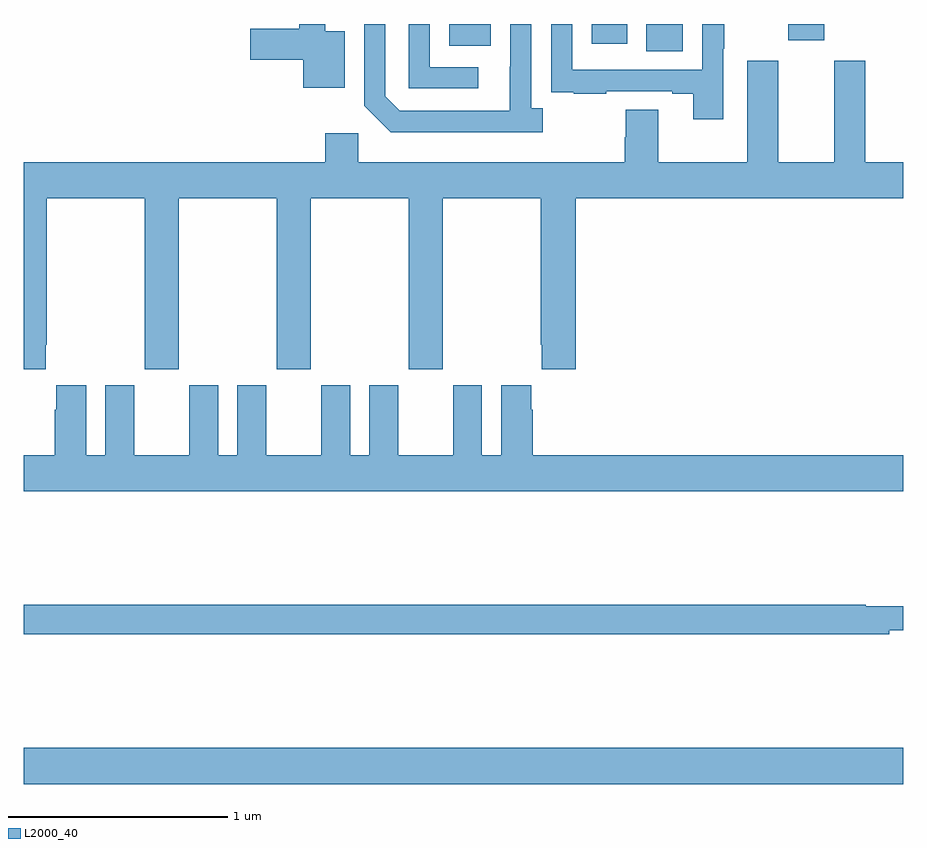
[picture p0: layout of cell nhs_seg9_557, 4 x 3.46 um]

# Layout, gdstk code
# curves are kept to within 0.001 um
import gdstk
lib = gdstk.Library(unit=1e-6, precision=1e-09)
def R(c, l, rs):  # rectangles x0, y0, x1, y1
    for r in rs: c.add(gdstk.rectangle(r[:2], r[2:], *l))
def P(c, l, *ps):  # polygons
    for p in ps: c.add(gdstk.Polygon(p, *l))
L2000_40 = (2000, 40)

nhs_seg9_557 = lib.new_cell('nhs_seg9_557')
R(nhs_seg9_557, L2000_40, [(137,1239.044,141,1239.208), (139.832,1242.376,139.996,1242.5), (138.935,1242.401,139.123,1242.5), (139.583,1242.411,139.744,1242.5), (140.477,1242.426,140.641,1242.5)])
P(nhs_seg9_557, L2000_40, [(139.066,1242.303),(138.846,1242.303),(138.846,1242.5),(138.75,1242.5),(138.75,1242.207),(139.066,1242.207)],
  [(140.181,1242.388),(140.186,1242.388),(140.186,1242.5),(140.085,1242.5),(140.085,1242.291),(139.494,1242.291),(139.494,1242.5),(139.398,1242.5),(139.398,1242.298),(139.399,1242.298),(139.399,1242.189),(139.501,1242.189),(139.501,1242.183),(139.649,1242.183),(139.649,1242.195),(139.949,1242.195),(139.949,1242.183),(140.045,1242.183),(140.045,1242.066),(140.181,1242.066)],
  [(138.46,1242.466),(138.371,1242.466),(138.371,1242.5),(138.253,1242.5),(138.253,1242.479),(138.03,1242.479),(138.03,1242.337),(138.272,1242.337),(138.272,1242.209),(138.46,1242.209)],
  [(139.36,1242.118),(139.308,1242.118),(139.308,1242.5),(139.212,1242.5),(139.211,1242.105),(138.711,1242.105),(138.645,1242.171),(138.645,1242.5),(138.549,1242.5),(138.549,1242.129),(138.67,1242.008),(139.36,1242.008)],
  [(137.101,1241.041),(137.106,1241.041),(137.106,1241.708),(137.551,1241.708),(137.551,1240.929),(137.706,1240.929),(137.706,1241.708),(138.151,1241.708),(138.151,1240.929),(138.306,1240.929),(138.306,1241.708),(138.751,1241.708),(138.751,1240.929),(138.906,1240.929),(138.906,1241.708),(139.351,1241.708),(139.351,1241.041),(139.355,1241.041),(139.355,1240.929),(139.511,1240.929),(139.511,1241.708),(141,1241.708),(141,1241.872),(140.827,1241.872),(140.827,1242.334),(140.687,1242.334),(140.687,1241.872),(140.431,1241.872),(140.431,1242.334),(140.291,1242.334),(140.291,1241.872),(139.885,1241.872),(139.885,1242.11),(139.738,1242.11),(139.738,1241.985),(139.733,1241.985),(139.733,1241.872),(138.522,1241.872),(138.522,1242.004),(138.371,1242.004),(138.371,1241.872),(137,1241.872),(137,1240.929),(137.101,1240.929)],
  [(141,1240.54),(139.316,1240.54),(139.316,1240.745),(139.309,1240.745),(139.309,1240.858),(139.172,1240.858),(139.172,1240.54),(139.084,1240.54),(139.084,1240.858),(138.953,1240.858),(138.953,1240.54),(138.703,1240.54),(138.703,1240.858),(138.572,1240.858),(138.572,1240.54),(138.484,1240.54),(138.484,1240.858),(138.353,1240.858),(138.353,1240.54),(138.103,1240.54),(138.103,1240.858),(137.972,1240.858),(137.972,1240.54),(137.884,1240.54),(137.884,1240.858),(137.753,1240.858),(137.753,1240.54),(137.503,1240.54),(137.503,1240.858),(137.372,1240.858),(137.372,1240.54),(137.284,1240.54),(137.284,1240.858),(137.147,1240.858),(137.147,1240.745),(137.141,1240.745),(137.141,1240.54),(137,1240.54),(137,1240.376),(141,1240.376)],
  [(140.936,1239.743),(141,1239.743),(141,1239.853),(140.83,1239.853),(140.83,1239.86),(137,1239.86),(137,1239.724),(140.936,1239.724)])

lib.write_gds('nhs_seg9_557.gds')
